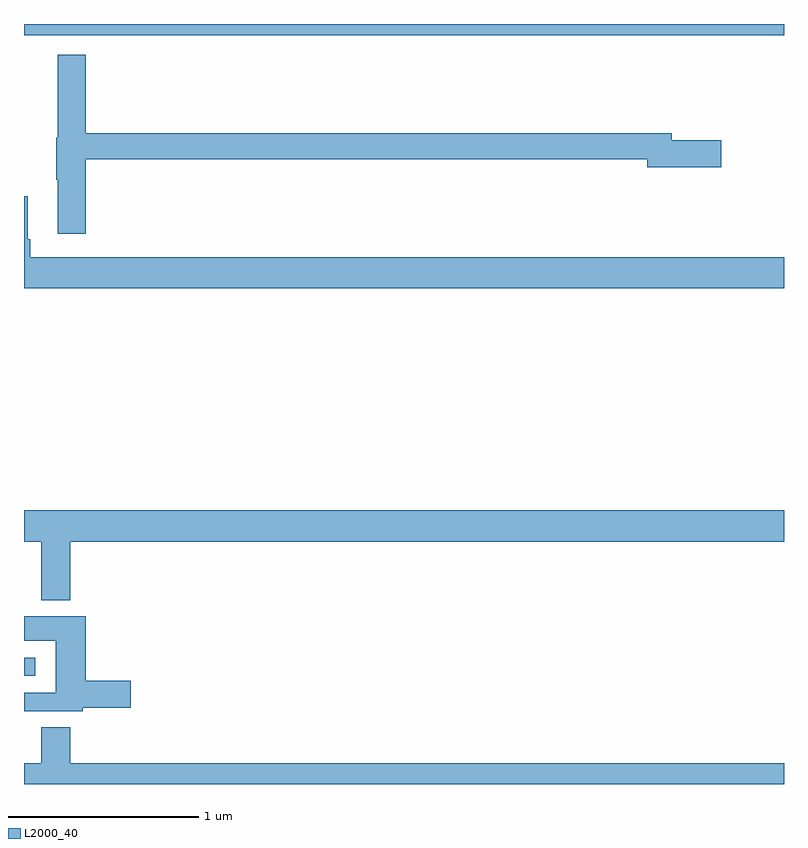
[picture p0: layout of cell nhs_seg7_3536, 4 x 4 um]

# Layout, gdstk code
import gdstk
lib = gdstk.Library(unit=1e-6, precision=1e-09)
def R(c, l, rs):  # rectangles x0, y0, x1, y1
    for r in rs: c.add(gdstk.rectangle(r[:2], r[2:], *l))
def P(c, l, *ps):  # polygons
    for p in ps: c.add(gdstk.Polygon(p, *l))
L2000_40 = (2000, 40)

nhs_seg7_3536 = lib.new_cell('nhs_seg7_3536')
R(nhs_seg7_3536, L2000_40, [(337,1006.569,337.06,1006.665), (337,1009.94,341,1010)])
P(nhs_seg7_3536, L2000_40, [(337.325,1009.288),(340.28,1009.288),(340.28,1009.246),(340.669,1009.246),(340.669,1009.388),(340.408,1009.388),(340.408,1009.424),(337.325,1009.424),(337.325,1009.837),(337.178,1009.837),(337.178,1009.401),(337.171,1009.401),(337.171,1009.18),(337.178,1009.18),(337.178,1008.897),(337.325,1008.897)],
  [(341,1008.772),(337.034,1008.772),(337.034,1008.868),(337.021,1008.868),(337.021,1009.093),(337,1009.093),(337,1008.608),(341,1008.608)],
  [(337.244,1007.276),(341,1007.276),(341,1007.44),(337,1007.44),(337,1007.276),(337.091,1007.276),(337.091,1006.967),(337.244,1006.967)],
  [(337.308,1006.402),(337.561,1006.402),(337.561,1006.544),(337.325,1006.544),(337.325,1006.882),(337,1006.882),(337,1006.754),(337.166,1006.754),(337.166,1006.479),(337,1006.479),(337,1006.383),(337.308,1006.383)],
  [(341,1006.108),(337.244,1006.108),(337.244,1006.298),(337.091,1006.298),(337.091,1006.108),(337,1006.108),(337,1006),(341,1006)])

lib.write_gds('nhs_seg7_3536.gds')
